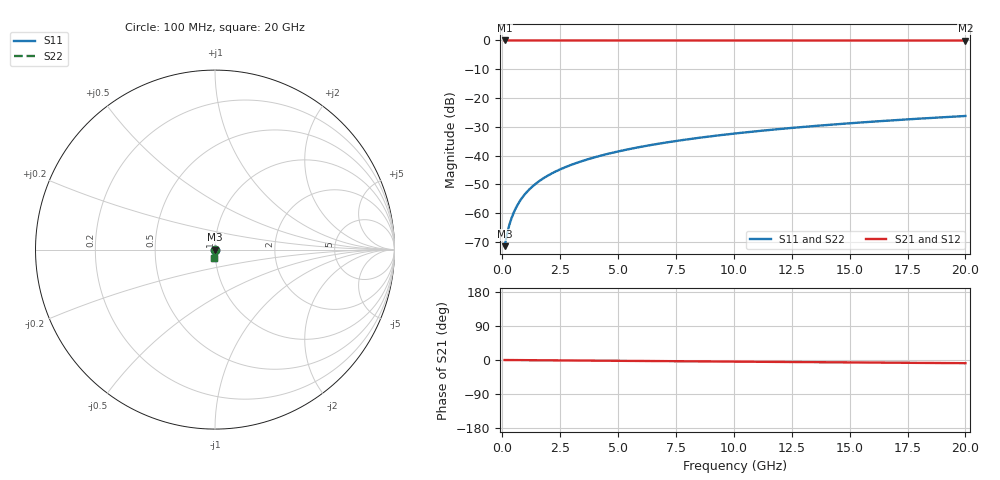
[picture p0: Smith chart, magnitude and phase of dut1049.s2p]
! Touchstone file exported from HFSS 2026.1.0
!  File:  C:/ffzhzh/LocalFiles/Ansys_Project_Files/temp_train_TSV_1049_1783189446_43440.aedt
!  Generated:  02:25:41 AM Jul  5, 2026
!  Design:  TSV
!  Project:  temp_train_TSV_1049_1783189446_43440
! Variables:
!  h_bsmrdl = 2um
!  h_ox = 20um
!  h_rdl = 5um
!  h_sub = 86.09um
!  h_tmrdl = 5um
!  h_tsv = 86.09um
!  h_via = 3um
!  l_bsmrdl = 300um
!  l_sub = 416.5um
!  l_tmrdl = 200um
!  m_sub = 200um
!  pitch = 24.68um
!  r_tsv = 8.25um
!  s_tmrdl = 10um
!  w_bsmrdl = 18um
!  w_sub = 500um
!  w_tmrdl = 12um
!  x_tsv_center1 = 206um
!  x_tsv_center2 = 524um
!  x_tsv_center3 = 736um
!  x_tsv_center4 = 1054um
!  x_tsv_center5 = 1266um
!  x_tsv_center6 = 1584um
# GHz S MA R 50.000000
! Terminal data exported
! Port[1] = TSV1_1_T1
! Port[2] = TSV1_1_T2
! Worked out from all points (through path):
!   200 points, 100 MHz to 20 GHz, reference 50 ohm
!   highest |S21| = 0.00 dB at 100 MHz (marker M1); lowest = 0.0 dB at 20 GHz (marker M2)
!   group delay of S21, straight-line fit = 1.17 ps
!   lowest |S11| = -71.5 dB at 100 MHz (marker M3), VSWR 1.00, Z = 50 - j0.0182 ohm
!   |S11| at or under -10 dB: start of sweep to end of sweep
!   |S22| runs from -71.5 to -26.2 dB; largest |S21 - S12| = 4.4e-15
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0.1  0.000267 -43.0  0.9998 -0.0  0.9998 -0.0  0.000267 -43.0
! Gamma 0 0 0 0
! Port Impedance 50 0 50 0
0.2  0.0004274 -59.9  0.9998 -0.1  0.9998 -0.1  0.0004274 -59.9
0.3  0.0006159 -66.8  0.9998 -0.1  0.9998 -0.1  0.0006159 -66.8
0.4  0.0008201 -70.4  0.9997 -0.2  0.9997 -0.2  0.0008201 -70.4
0.5  0.001035 -72.7  0.9997 -0.2  0.9997 -0.2  0.001035 -72.7
0.6  0.001258 -74.4  0.9997 -0.3  0.9997 -0.3  0.001258 -74.4
0.8  0.001719 -76.8  0.9996 -0.4  0.9996 -0.4  0.001719 -76.8
1.1  0.002427 -79.4  0.9995 -0.5  0.9995 -0.5  0.002427 -79.4
1.3  0.002902 -80.6  0.9995 -0.6  0.9995 -0.6  0.002902 -80.6
1.5  0.003378 -81.6  0.9995 -0.7  0.9995 -0.7  0.003378 -81.6
1.8  0.004093 -82.8  0.9994 -0.8  0.9994 -0.8  0.004093 -82.8
2.1  0.004808 -83.7  0.9994 -0.9  0.9994 -0.9  0.004808 -83.7
2.7  0.00624 -85.0  0.9993 -1.2  0.9993 -1.2  0.00624 -85.0
3.5  0.00816 -86.2  0.9992 -1.5  0.9992 -1.5  0.00816 -86.2
4.2  0.009851 -87.0  0.9991 -1.8  0.9991 -1.8  0.009851 -87.0
5  0.01179 -87.7  0.999 -2.1  0.999 -2.1  0.01179 -87.7
6.8  0.0162 -89.1  0.9988 -2.9  0.9988 -2.9  0.0162 -89.1
8.3  0.01989 -90.1  0.9986 -3.5  0.9986 -3.5  0.01989 -90.1
10.1  0.02432 -91.2  0.9984 -4.3  0.9984 -4.3  0.02432 -91.2
13.4  0.03246 -93.0  0.998 -5.7  0.998 -5.7  0.03246 -93.0
16.7  0.0406 -94.7  0.9975 -7.1  0.9975 -7.1  0.0406 -94.7
20  0.04874 -96.3  0.9969 -8.4  0.9969 -8.4  0.04874 -96.3
